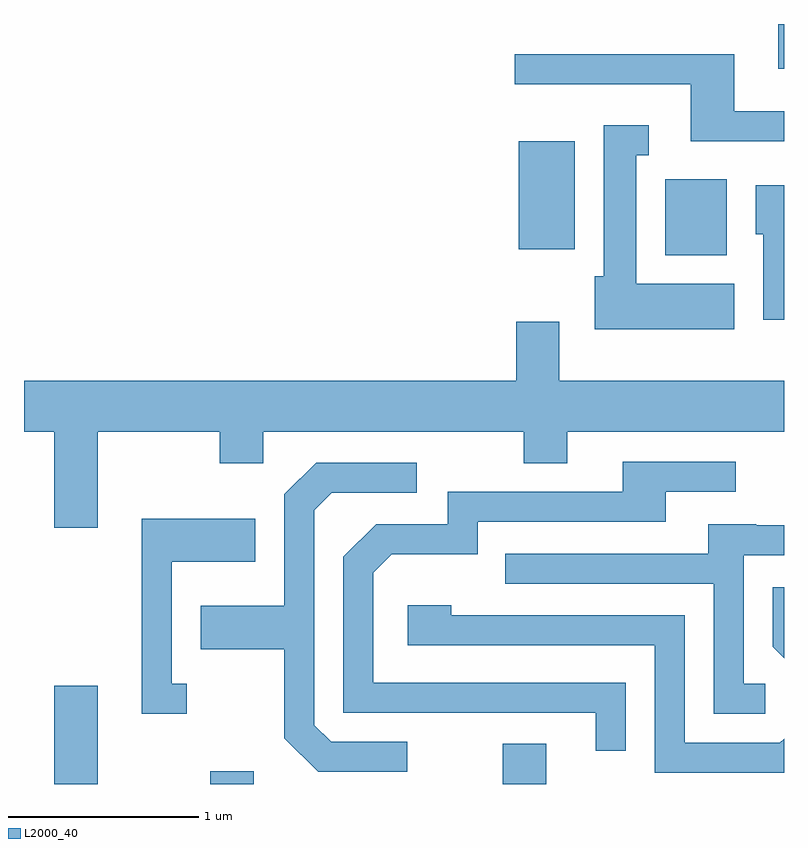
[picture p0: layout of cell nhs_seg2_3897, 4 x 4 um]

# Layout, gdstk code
import gdstk
lib = gdstk.Library(unit=1e-6, precision=1e-09)
def R(c, l, rs):  # rectangles x0, y0, x1, y1
    for r in rs: c.add(gdstk.rectangle(r[:2], r[2:], *l))
def P(c, l, *ps):  # polygons
    for p in ps: c.add(gdstk.Polygon(p, *l))
L2000_40 = (2000, 40)

nhs_seg2_3897 = lib.new_cell('nhs_seg2_3897')
R(nhs_seg2_3897, L2000_40, [(299.771,1039.802,299.999,1040.319), (300.591,1039.802,300.819,1039.869), (302.131,1039.802,302.359,1040.014), (302.986,1042.586,303.309,1042.984), (302.216,1042.616,302.509,1043.184), (303.581,1043.566,303.611,1043.802)])
P(nhs_seg2_3897, L2000_40, [(303.611,1043.344),(303.349,1043.344),(303.349,1043.644),(302.193,1043.644),(302.193,1043.486),(303.121,1043.486),(303.121,1043.186),(303.611,1043.186)],
  [(303.349,1042.434),(302.834,1042.434),(302.834,1043.111),(302.898,1043.111),(302.898,1043.269),(302.661,1043.269),(302.661,1042.474),(302.616,1042.474),(302.616,1042.196),(303.349,1042.196)],
  [(303.611,1042.954),(303.461,1042.954),(303.461,1042.696),(303.501,1042.696),(303.501,1042.246),(303.611,1042.246)],
  [(299.999,1041.656),(300.641,1041.656),(300.641,1041.491),(300.869,1041.491),(300.869,1041.656),(302.241,1041.656),(302.241,1041.491),(302.469,1041.491),(302.469,1041.656),(303.611,1041.656),(303.611,1041.924),(302.429,1041.924),(302.429,1042.234),(302.201,1042.234),(302.201,1041.924),(299.611,1041.924),(299.611,1041.656),(299.771,1041.656),(299.771,1041.151),(299.999,1041.151)],
  [(302.779,1040.334),(301.449,1040.334),(301.449,1040.914),(301.547,1041.011),(301.999,1041.011),(301.999,1041.181),(302.989,1041.181),(302.989,1041.341),(303.358,1041.341),(303.358,1041.499),(302.761,1041.499),(302.761,1041.339),(301.841,1041.339),(301.841,1041.169),(301.464,1041.169),(301.291,1040.997),(301.291,1040.176),(302.621,1040.176),(302.621,1039.978),(302.779,1039.978)],
  [(301.628,1040.024),(301.227,1040.024),(301.139,1040.112),(301.139,1041.244),(301.232,1041.336),(301.678,1041.336),(301.678,1041.494),(301.149,1041.494),(300.981,1041.327),(300.981,1040.739),(300.541,1040.739),(300.541,1040.511),(300.981,1040.511),(300.981,1040.044),(301.159,1039.866),(301.628,1039.866)],
  [(300.468,1040.329),(300.389,1040.329),(300.389,1040.971),(300.829,1040.971),(300.829,1041.199),(300.231,1041.199),(300.231,1040.171),(300.468,1040.171)],
  [(303.513,1040.329),(303.399,1040.329),(303.399,1041.006),(303.611,1041.006),(303.611,1041.164),(303.465,1041.164),(303.465,1041.169),(303.211,1041.169),(303.211,1041.014),(302.143,1041.014),(302.143,1040.856),(303.241,1040.856),(303.241,1040.171),(303.513,1040.171)],
  [(303.611,1040.838),(303.551,1040.838),(303.551,1040.524),(303.611,1040.464)],
  [(303.611,1040.041),(303.589,1040.019),(303.089,1040.019),(303.089,1040.689),(301.859,1040.689),(301.859,1040.744),(301.631,1040.744),(301.631,1040.531),(302.931,1040.531),(302.931,1039.861),(303.611,1039.861)])

lib.write_gds('nhs_seg2_3897.gds')
